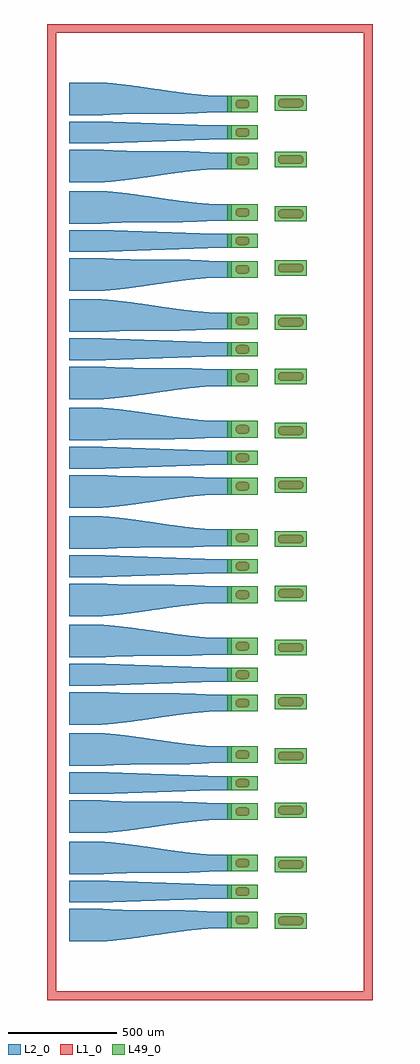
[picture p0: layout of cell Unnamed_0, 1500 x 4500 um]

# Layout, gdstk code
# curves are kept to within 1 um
import gdstk
lib = gdstk.Library(unit=1e-6, precision=1e-09)
def R(c, l, rs):  # rectangles x0, y0, x1, y1
    for r in rs: c.add(gdstk.rectangle(r[:2], r[2:], *l))
def P(c, l, *ps):  # polygons
    for p in ps: c.add(gdstk.Polygon(p, *l))
L1_0 = (1, 0)
L2_0 = (2, 0)
L49_0 = (49, 0)

pad_s139p5_77_lmtop_bln_ = lib.new_cell('pad_S139p5_77_LMTOP_BLN_4a29f11f')
R(pad_s139p5_77_lmtop_bln_, L49_0, [(-69.75,-38.5,69.75,38.5)])

pad_solder_s23p985_40_l1 = lib.new_cell('pad_solder_S23p985_40_L1_0')
P(pad_solder_s23p985_40_l1, L1_0, [(-11.993,-20),(-23.465,-16.383),(-30.787,-6.84),(-31.312,5.176),(-24.849,15.321),(-14.604,19.829),(12.865,19.981),(21.228,17.74),(27.314,12.856),(31.067,6.014),(31.917,-1.743),(29.733,-9.235),(24.849,-15.321),(14.604,-19.829)])

pad_s139p5_65_lmtop_bln_ = lib.new_cell('pad_S139p5_65_LMTOP_BLN_d4284e8c')
R(pad_s139p5_65_lmtop_bln_, L49_0, [(-69.75,-32.5,69.75,32.5)])

pad_s148p5_71_lmtop_bln_ = lib.new_cell('pad_S148p5_71_LMTOP_BLN_3d106977')
R(pad_s148p5_71_lmtop_bln_, L49_0, [(-74.25,-35.5,74.25,35.5)])

pad_solder_s77p213_40_l1 = lib.new_cell('pad_solder_S77p213_40_L1_0')
P(pad_solder_s77p213_40_l1, L1_0, [(-38.607,-20),(-46.261,-18.478),(-52.119,-14.746),(-56.347,-9.235),(-58.436,-2.611),(-57.926,5.176),(-54.99,11.472),(-50.079,16.383),(-43.783,19.319),(41.218,19.829),(52.119,14.746),(57.926,5.176),(58.436,-2.611),(55.928,-10),(50.782,-15.867),(43.783,-19.319)])

pd_single_ps139p5_77_13_ = lib.new_cell('pd_single_PS139p5_77_13_86549967')
pd_single_ps139p5_77_13_.add(gdstk.Reference(pad_s139p5_77_lmtop_bln_, (0,0)))
pd_single_ps139p5_77_13_.add(gdstk.Reference(pad_solder_s23p985_40_l1, (0,0)))
pd_single_ps139p5_77_13_.add(gdstk.Reference(pad_s139p5_65_lmtop_bln_, (0,-131.25)))
pd_single_ps139p5_77_13_.add(gdstk.Reference(pad_solder_s23p985_40_l1, (0,-131.25)))
pd_single_ps139p5_77_13_.add(gdstk.Reference(pad_s139p5_77_lmtop_bln_, (0,-262.5)))
pd_single_ps139p5_77_13_.add(gdstk.Reference(pad_solder_s23p985_40_l1, (0,-262.5)))
pd_single_ps139p5_77_13_.add(gdstk.Reference(pad_s148p5_71_lmtop_bln_, (222.5,3.75)))
pd_single_ps139p5_77_13_.add(gdstk.Reference(pad_solder_s77p213_40_l1, (222.5,3.75)))
pd_single_ps139p5_77_13_.add(gdstk.Reference(pad_s148p5_71_lmtop_bln_, (222.5,-256.25)))
pd_single_ps139p5_77_13_.add(gdstk.Reference(pad_solder_s77p213_40_l1, (222.5,-256.25)))

c_pd_single_ps139p5_77_13_ = lib.new_cell('pd_single_PS139p5_77_13_cd77438a')
c_pd_single_ps139p5_77_13_.add(gdstk.Reference(pad_s139p5_77_lmtop_bln_, (0,0)))
c_pd_single_ps139p5_77_13_.add(gdstk.Reference(pad_solder_s23p985_40_l1, (0,0)))
c_pd_single_ps139p5_77_13_.add(gdstk.Reference(pad_s139p5_65_lmtop_bln_, (0,-131.25)))
c_pd_single_ps139p5_77_13_.add(gdstk.Reference(pad_solder_s23p985_40_l1, (0,-131.25)))
c_pd_single_ps139p5_77_13_.add(gdstk.Reference(pad_s139p5_77_lmtop_bln_, (0,-262.5)))
c_pd_single_ps139p5_77_13_.add(gdstk.Reference(pad_solder_s23p985_40_l1, (0,-262.5)))
c_pd_single_ps139p5_77_13_.add(gdstk.Reference(pad_s148p5_71_lmtop_bln_, (222.5,-6.25)))
c_pd_single_ps139p5_77_13_.add(gdstk.Reference(pad_solder_s77p213_40_l1, (222.5,-6.25)))
c_pd_single_ps139p5_77_13_.add(gdstk.Reference(pad_s148p5_71_lmtop_bln_, (222.5,-256.25)))
c_pd_single_ps139p5_77_13_.add(gdstk.Reference(pad_solder_s77p213_40_l1, (222.5,-256.25)))

c_pd_single_ps139p5_77_13__ = lib.new_cell('pd_single_PS139p5_77_13_79aa0290')
c_pd_single_ps139p5_77_13__.add(gdstk.Reference(pad_s139p5_77_lmtop_bln_, (0,0)))
c_pd_single_ps139p5_77_13__.add(gdstk.Reference(pad_solder_s23p985_40_l1, (0,0)))
c_pd_single_ps139p5_77_13__.add(gdstk.Reference(pad_s139p5_65_lmtop_bln_, (0,-131.25)))
c_pd_single_ps139p5_77_13__.add(gdstk.Reference(pad_solder_s23p985_40_l1, (0,-131.25)))
c_pd_single_ps139p5_77_13__.add(gdstk.Reference(pad_s139p5_77_lmtop_bln_, (0,-262.5)))
c_pd_single_ps139p5_77_13__.add(gdstk.Reference(pad_solder_s23p985_40_l1, (0,-262.5)))
c_pd_single_ps139p5_77_13__.add(gdstk.Reference(pad_s148p5_71_lmtop_bln_, (222.5,-6.25)))
c_pd_single_ps139p5_77_13__.add(gdstk.Reference(pad_solder_s77p213_40_l1, (222.5,-6.25)))
c_pd_single_ps139p5_77_13__.add(gdstk.Reference(pad_s148p5_71_lmtop_bln_, (222.5,-266.25)))
c_pd_single_ps139p5_77_13__.add(gdstk.Reference(pad_solder_s77p213_40_l1, (222.5,-266.25)))

pd_array = lib.new_cell('pd_array')
pd_array.add(gdstk.Reference(pd_single_ps139p5_77_13_, (0,0)))
pd_array.add(gdstk.Reference(c_pd_single_ps139p5_77_13_, (0,-500)))
pd_array.add(gdstk.Reference(c_pd_single_ps139p5_77_13_, (0,-1000)))
pd_array.add(gdstk.Reference(c_pd_single_ps139p5_77_13_, (0,-1500)))
pd_array.add(gdstk.Reference(c_pd_single_ps139p5_77_13_, (0,-2000)))
pd_array.add(gdstk.Reference(c_pd_single_ps139p5_77_13_, (0,-2500)))
pd_array.add(gdstk.Reference(c_pd_single_ps139p5_77_13_, (0,-3000)))
pd_array.add(gdstk.Reference(c_pd_single_ps139p5_77_13__, (0,-3500)))

unnamed_23 = lib.new_cell('Unnamed_23')
R(unnamed_23, L2_0, [(0,-230,150,-80), (0,-50,150,50), (0,80,150,230)])

unnamed_24 = lib.new_cell('Unnamed_24')
R(unnamed_24, L2_0, [(0,-169.75,100,-92.75), (0,-32.5,100,32.5), (0,92.75,100,169.75)])

unnamed_25 = lib.new_cell('Unnamed_25')
P(unnamed_25, L2_0, [(0,-230),(0,-80),(111.111,-85.333),(373.737,-87.078),(500,-92.75),(500,-169.75),(388.889,-180.639),(126.263,-217.238)],
  [(0,-50),(0,50),(500,32.5),(500,-32.5)],
  [(0,80),(0,230),(111.111,219.111),(373.737,182.512),(500,169.75),(500,92.75),(388.889,87.417),(126.263,85.672)])

trace_single = lib.new_cell('trace_single')
trace_single.add(gdstk.Reference(unnamed_23, (0,0)))
trace_single.add(gdstk.Reference(unnamed_24, (650,0)))
trace_single.add(gdstk.Reference(unnamed_25, (150,0)))

unnamed_22 = lib.new_cell('Unnamed_22')
unnamed_22.add(gdstk.Reference(trace_single, (0,0)))
unnamed_22.add(gdstk.Reference(trace_single, (0,-500)))
unnamed_22.add(gdstk.Reference(trace_single, (0,-1000)))
unnamed_22.add(gdstk.Reference(trace_single, (0,-1500)))
unnamed_22.add(gdstk.Reference(trace_single, (0,-2000)))
unnamed_22.add(gdstk.Reference(trace_single, (0,-2500)))
unnamed_22.add(gdstk.Reference(trace_single, (0,-3000)))
unnamed_22.add(gdstk.Reference(trace_single, (0,-3500)))

unnamed_32 = lib.new_cell('Unnamed_32')
P(unnamed_32, L1_0, [(0,0),(0,4460),(40,4460),(40,40),(1460,40),(1460,4460),(0,4460),(0,4500),(1500,4500),(1500,0)])

unnamed_0 = lib.new_cell('Unnamed_0')
unnamed_0.add(gdstk.Reference(pd_array, (800,131.25)))
unnamed_0.add(gdstk.Reference(unnamed_22, (0,0)))
unnamed_0.add(gdstk.Reference(unnamed_32, (-100,-4000)))

lib.write_gds('Unnamed_0.gds')
